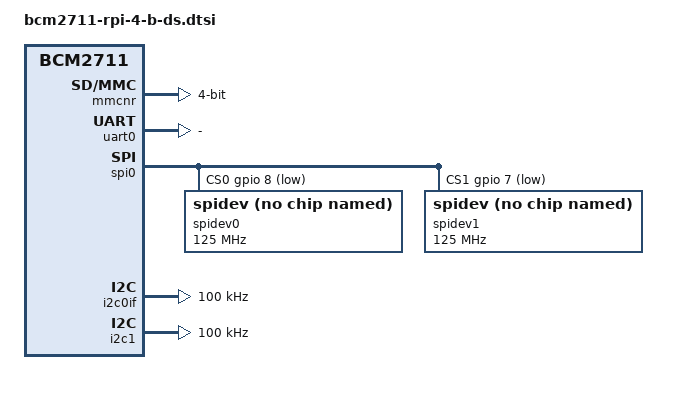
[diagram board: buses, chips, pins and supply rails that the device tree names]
// SPDX-License-Identifier: GPL-2.0
#undef i2c0

/delete-node/ &i2c0mux;

&usb {
	/delete-property/ dr_mode;
	/delete-property/ g-rx-fifo-size;
	/delete-property/ g-np-tx-fifo-size;
	/delete-property/ g-tx-fifo-size;
};

/* bcm2711-rpi-4-b.dts already provides cam1_reg */
#define cam1_reg cam1_reg_270x
#include "bcm270x.dtsi"
#undef cam1_reg
/delete-node/ &cam1_reg_270x;

&expgpio {
	gpio-line-names = "BT_ON",
			  "WL_ON",
			  "PWR_LED_OFF",
			  "GLOBAL_RESET",
			  "VDD_SD_IO_SEL",
			  "CAM_GPIO",
			  "SD_PWR_ON",
			  "SD_OC_N";
};

&phy1 {
	brcm,powerdown-enable;
};

// =============================================
// Downstream rpi- changes

#include "bcm271x-rpi-bt.dtsi"

/ {
	soc {
		/delete-node/ pixelvalve@7e807000;
		/delete-node/ hdmi@7e902000;
	};
};

&phy1 {
	/delete-node/ leds;
};

#include "bcm2711-rpi-ds.dtsi"
#include "bcm283x-rpi-csi1-2lane.dtsi"
#include "bcm283x-rpi-i2c0mux_0_44.dtsi"

/ {
	/delete-node/ wifi-pwrseq;
};

&mmcnr {
	pinctrl-names = "default";
	pinctrl-0 = <&sdio_pins>;
	bus-width = <4>;
	status = "okay";
};

&uart0 {
	pinctrl-0 = <&uart0_pins &bt_pins>;
	status = "okay";
};

&uart1 {
	pinctrl-0 = <&uart1_pins>;
};

&spi0 {
	pinctrl-names = "default";
	pinctrl-0 = <&spi0_pins &spi0_cs_pins>;
	cs-gpios = <&gpio 8 1>, <&gpio 7 1>;

	spidev0: spidev@0{
		compatible = "spidev";
		reg = <0>;	/* CE0 */
		#address-cells = <1>;
		#size-cells = <0>;
		spi-max-frequency = <125000000>;
	};

	spidev1: spidev@1{
		compatible = "spidev";
		reg = <1>;	/* CE1 */
		#address-cells = <1>;
		#size-cells = <0>;
		spi-max-frequency = <125000000>;
	};
};

&gpio {
	gpio-line-names = "ID_SDA",
			  "ID_SCL",
			  "GPIO2",
			  "GPIO3",
			  "GPIO4",
			  "GPIO5",
			  "GPIO6",
			  "GPIO7",
			  "GPIO8",
			  "GPIO9",
			  "GPIO10",
			  "GPIO11",
			  "GPIO12",
			  "GPIO13",
			  "GPIO14",
			  "GPIO15",
			  "GPIO16",
			  "GPIO17",
			  "GPIO18",
			  "GPIO19",
			  "GPIO20",
			  "GPIO21",
			  "GPIO22",
			  "GPIO23",
			  "GPIO24",
			  "GPIO25",
			  "GPIO26",
			  "GPIO27",
			  "RGMII_MDIO",
			  "RGMIO_MDC",
			  /* Used by BT module */
			  "CTS0",		/* 30 */
			  "RTS0",
			  "TXD0",
			  "RXD0",
			  /* Used by Wifi */
			  "SD1_CLK",
			  "SD1_CMD",		/* 35 */
			  "SD1_DATA0",
			  "SD1_DATA1",
			  "SD1_DATA2",
			  "SD1_DATA3",
			  /* Shared with SPI flash */
			  "PWM0_MISO",		/* 40 */
			  "PWM1_MOSI",
			  "STATUS_LED_G_CLK",
			  "SPIFLASH_CE_N",
			  "SDA0",
			  "SCL0",		/* 45 */
			  "RGMII_RXCLK",
			  "RGMII_RXCTL",
			  "RGMII_RXD0",
			  "RGMII_RXD1",
			  "RGMII_RXD2",		/* 50 */
			  "RGMII_RXD3",
			  "RGMII_TXCLK",
			  "RGMII_TXCTL",
			  "RGMII_TXD0",
			  "RGMII_TXD1",		/* 55 */
			  "RGMII_TXD2",
			  "RGMII_TXD3";

	bt_pins: bt_pins {
		brcm,pins = "-"; // non-empty to keep btuart happy, //4 = 0
				 // to fool pinctrl
		brcm,function = <0>;
		brcm,pull = <2>;
	};

	uart0_pins: uart0_pins {
		brcm,pins = <32 33>;
		brcm,function = <BCM2835_FSEL_ALT3>;
		brcm,pull = <0 2>;
	};

	uart1_pins: uart1_pins {
		brcm,pins;
		brcm,function;
		brcm,pull;
	};

	uart1_bt_pins: uart1_bt_pins {
		brcm,pins = <32 33 30 31>;
		brcm,function = <BCM2835_FSEL_ALT5>; /* alt5=UART1 */
		brcm,pull = <0 2 2 0>;
	};
};

&i2c0if {
	clock-frequency = <100000>;
};

&i2c1 {
	pinctrl-names = "default";
	pinctrl-0 = <&i2c1_pins>;
	clock-frequency = <100000>;
};

&i2s {
	pinctrl-names = "default";
	pinctrl-0 = <&i2s_pins>;
};

// =============================================
// Board specific stuff here

&sdhost {
	status = "disabled";
};

&phy1 {
	led-modes = <0x00 0x08>; /* link/activity link */
};

&gpio {
	audio_pins: audio_pins {
		brcm,pins = <40 41>;
		brcm,function = <4>;
		brcm,pull = <0>;
	};
};

&led_act {
	default-state = "off";
	linux,default-trigger = "mmc0";
};

&led_pwr {
	default-state = "off";
};

&pwm1 {
	status = "disabled";
};

&vchiq {
	pinctrl-names = "default";
	pinctrl-0 = <&audio_pins>;
};

&cam1_reg {
	gpio = <&expgpio 5 GPIO_ACTIVE_HIGH>;
};

cam0_reg: &cam_dummy_reg {
};

i2c_csi_dsi0: &i2c0 {
};

/ {
	__overrides__ {
		audio = <&chosen>,"bootargs{on='snd_bcm2835.enable_headphones=1 snd_bcm2835.enable_hdmi=1',off='snd_bcm2835.enable_headphones=0 snd_bcm2835.enable_hdmi=0'}";

		act_led_gpio = <&led_act>,"gpios:4";
		act_led_activelow = <&led_act>,"gpios:8";
		act_led_trigger = <&led_act>,"linux,default-trigger";

		pwr_led_gpio = <&led_pwr>,"gpios:4";
		pwr_led_activelow = <&led_pwr>,"gpios:8";
		pwr_led_trigger = <&led_pwr>,"linux,default-trigger";

		eee = <&phy1>,"eee-broken-1000t!",
		      <&phy1>,"eee-broken-100tx!";
		eth_led0 = <&phy1>,"led-modes:0";
		eth_led1 = <&phy1>,"led-modes:4";
		eth_max_speed = <&phy1>,"max-speed:0";
	};
};
